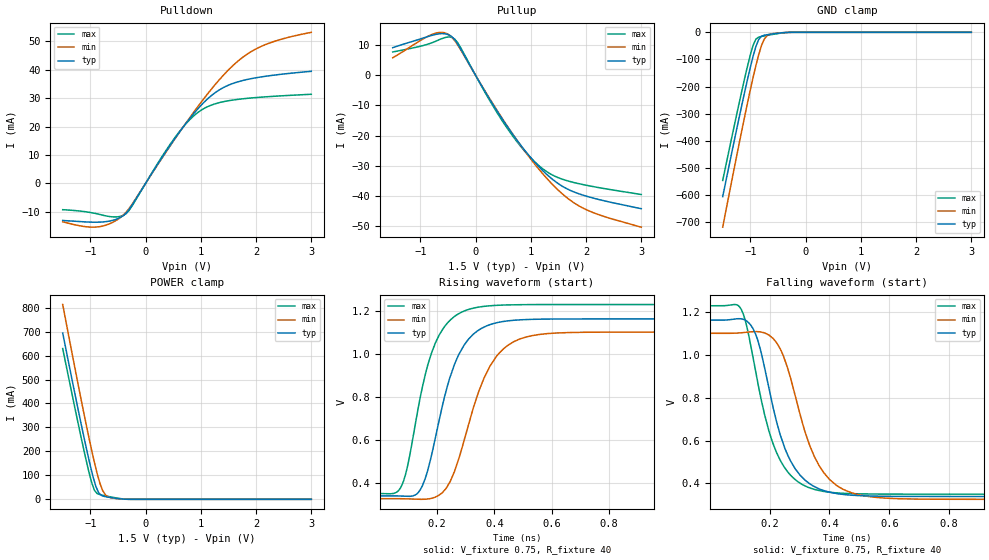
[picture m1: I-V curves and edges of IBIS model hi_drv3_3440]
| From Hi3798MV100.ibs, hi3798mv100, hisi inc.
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[Model]   hi_drv3_3440
Model_type   I/O
Polarity   Non-Inverting
Enable   Active-High
Vinl = 0.575
Vinh = 0.925
Vmeas = 0.75
Cref = 0
Rref = 40
Vref = 0.75
| variable   typ   min   max
C_comp   3.44836p   3.31741p   3.59689p
| Subparameter   typ   min   max
[Model Spec]
Vinl   0.575   0.575   0.575
Vinh   0.925   0.925   0.925
Vmeas   0.75   0.75   0.75
Cref   0   0   0
Rref   40   40   40
Vref   0.75   0.75   0.75
| Variable   typ   min   max
[Temperature Range] 25   125   -40
| Variable   typ   min   max
[Voltage Range]   1.5   1.425   1.575
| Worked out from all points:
|   slope of the pulldown table from 0 to 0.225 V, typ, clamps not added: 32.5 ohm
|   slope of the pullup table from 0 to 0.225 V, typ, clamps not added: 32.1 ohm
|   GND clamp passes 1 mA (typ) near -0.38 V on its own axis
|   POWER clamp passes 1 mA (typ) near -0.41 V on its own axis
|   rising waveform, V_fixture 0.75, R_fixture 40: 20-80 % time 99.8ps typ, 118ps min, 90.7ps max; typ from 0.338 V to 1.16 V
|   falling waveform, V_fixture 0.75, R_fixture 40: 20-80 % time 96.4ps typ, 108ps min, 93.8ps max; typ from 1.16 V to 0.338 V
[Power_clamp]
| Note that the [POWER_clamp] voltage table is referenced to Vcc
| and is calculated using Vtable=Vcc - Vmeasured.
| Voltage   I(typ)   I(min)   I(max)
-1.5V     693.8mA    813.1mA    629.1mA
-1.175V   324.1mA    426.1mA    267.2mA
-1.075V   216.2mA    312.2mA    162.2mA
-975mV    116.6mA    203.6mA    69.48mA
-925mV    73.8mA     152.9mA    37.32mA
-900mV    54.15mA    129.5mA    30.53mA
-850mV    27.61mA    85.94mA    21.73mA
-775mV    14.33mA    35.43mA    17.07mA
-725mV    11.22mA    17.85mA    14.61mA
-625mV    7.173mA    6.73mA     9.915mA
-325mV    202.2uA    222.3uA    269.4uA
3V        -32.51nA   -746.2nA   -14.36nA
[Pulldown]
| Voltage   I(typ)   I(min)   I(max)
-1.5V     -13.05mA   -13.49mA   -9.26mA
-900mV    -13.67mA   -15.37mA   -10.62mA
-650mV    -13.25mA   -14.2mA    -11.67mA
-450mV    -11.93mA   -11.94mA   -11.59mA
-300mV    -9.204mA   -8.881mA   -9.547mA
250mV     7.675mA    7.482mA    7.976mA
600mV     17.69mA    17.6mA     17.89mA
1V        27.37mA    28.41mA    25.67mA
1.4V      33.61mA    37.87mA    28.7mA
1.85V     36.6mA     45.61mA    29.93mA
2.3V      38.02mA    49.77mA    30.61mA
3V        39.43mA    53.15mA    31.35mA
[Pullup]
| Voltage   I(typ)   I(min)   I(max)
-1.5V     9.184mA    5.855mA    7.749mA
-775mV    13.34mA    13.68mA    10.91mA
-625mV    13.82mA    14.28mA    12.08mA
-475mV    13.31mA    13.37mA    12.74mA
-325mV    10.4mA     10.12mA    10.87mA
275mV     -8.511mA   -8.321mA   -8.957mA
625mV     -18.36mA   -18.24mA   -18.93mA
925mV     -25.71mA   -26mA      -25.93mA
1.175V    -30.88mA   -31.8mA    -30.43mA
1.5V      -35.99mA   -38.18mA   -34.01mA
1.875V    -39.36mA   -43.4mA    -35.99mA
3V        -44.29mA   -50.41mA   -39.57mA
[GND_clamp]
| Voltage   I(typ)   I(min)   I(max)
-1.5V     -606.4mA   -719.1mA   -546.7mA
-1.15V    -264.9mA   -358mA     -212.8mA
-1.05V    -172.8mA   -259.7mA   -123.8mA
-950mV    -88.38mA   -166.4mA   -47.91mA
-900mV    -52.85mA   -123.1mA   -25.33mA
-850mV    -27.04mA   -83.49mA   -17.83mA
-800mV    -14.74mA   -49.95mA   -15.3mA
-750mV    -10.77mA   -25.72mA   -13.35mA
-700mV    -8.89mA    -12.61mA   -11.48mA
-600mV    -5.956mA   -5.07mA    -7.903mA
-300mV    -165.6uA   -228.6uA   -202.8uA
3V        69.88nA    998.8nA    13.39nA
[Ramp]
| Variable   typ   min   max
dV/dt_r   0.499064/0.096408n 0.470894/0.107906n 0.532454/0.093764n
dV/dt_f   0.499064/0.096408n 0.470894/0.107906n 0.532454/0.093764n
R_load = 40
[Rising_Waveform]
V_fixture = 0.75
V_fixture_min = 0.7125
V_fixture_max = 0.7875
R_fixture = 40
| Time   V(typ)   V(min)   V(max)
1.97ps    338.3mV    325.1mV    349mV
76.77ps   337.3mV    324.9mV    385.8mV
141.5ps   366.4mV    322.1mV    798mV
218.6ps   757.4mV    353.2mV    1.113V
259ps     945mV      445.3mV    1.173V
309.6ps   1.069V     669.6mV    1.207V
362.6ps   1.124V     883.8mV    1.222V
437.5ps   1.153V     1.03V      1.228V
791.7ps   1.163V     1.102V     1.23V
18.53ns   1.163V     1.102V     1.23V
[Falling_Waveform]
V_fixture = 0.75
V_fixture_min = 0.7125
V_fixture_max = 0.7875
R_fixture = 40
| Time   V(typ)   V(min)   V(max)
1.92ps    1.163V     1.102V     1.23V
106.1ps   1.169V     1.104V     1.212V
159.4ps   1.074V     1.109V     879.3mV
210.4ps   763.2mV    1.08V      590.5mV
246.4ps   581.7mV    995mV      481.6mV
300.3ps   440.3mV    730.5mV    402mV
363.5ps   375mV      486.9mV    366.6mV
462.9ps   345.5mV    361.4mV    352.1mV
834.6ps   338.3mV    325.1mV    349mV
18.53ns   338.3mV    325mV      349mV
